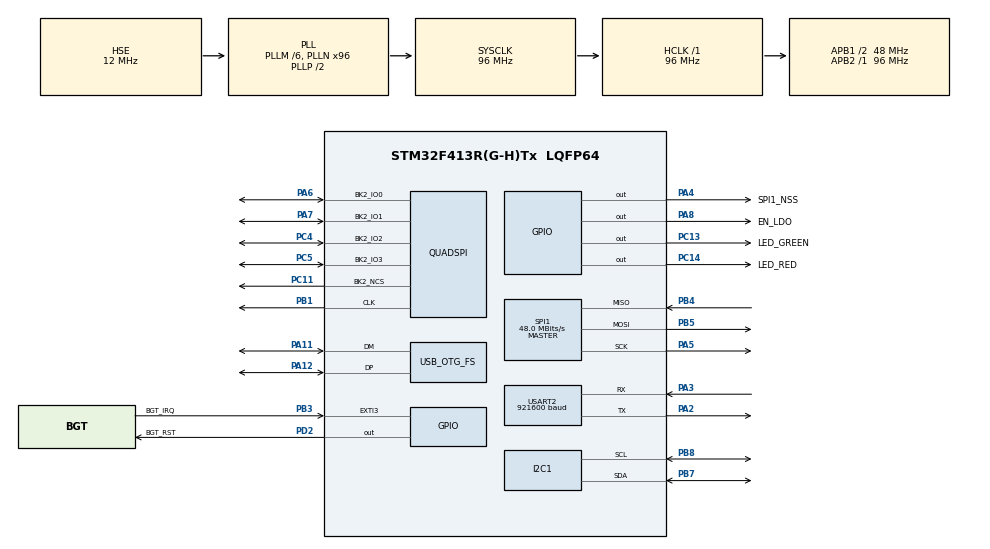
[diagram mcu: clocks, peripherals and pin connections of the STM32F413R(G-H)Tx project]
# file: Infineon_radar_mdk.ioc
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Dma.Request0=SPI1_RX
Dma.Request1=SPI1_TX
Dma.Request2=USART2_TX
Dma.SPI1_RX.0.Direction=DMA_PERIPH_TO_MEMORY
Dma.SPI1_RX.0.FIFOMode=DMA_FIFOMODE_DISABLE
Dma.SPI1_RX.0.Instance=DMA2_Stream0
Dma.SPI1_RX.0.MemDataAlignment=DMA_MDATAALIGN_BYTE
Dma.SPI1_RX.0.MemInc=DMA_MINC_ENABLE
Dma.SPI1_RX.0.Mode=DMA_NORMAL
Dma.SPI1_RX.0.PeriphDataAlignment=DMA_PDATAALIGN_BYTE
Dma.SPI1_RX.0.PeriphInc=DMA_PINC_DISABLE
Dma.SPI1_RX.0.Priority=DMA_PRIORITY_LOW
Dma.SPI1_TX.1.Direction=DMA_MEMORY_TO_PERIPH
Dma.SPI1_TX.1.FIFOMode=DMA_FIFOMODE_DISABLE
Dma.SPI1_TX.1.Instance=DMA2_Stream2
Dma.SPI1_TX.1.MemDataAlignment=DMA_MDATAALIGN_BYTE
Dma.SPI1_TX.1.MemInc=DMA_MINC_ENABLE
Dma.SPI1_TX.1.Mode=DMA_NORMAL
Dma.SPI1_TX.1.PeriphDataAlignment=DMA_PDATAALIGN_BYTE
Dma.SPI1_TX.1.PeriphInc=DMA_PINC_DISABLE
Dma.SPI1_TX.1.Priority=DMA_PRIORITY_LOW
Dma.USART2_TX.2.Direction=DMA_MEMORY_TO_PERIPH
Dma.USART2_TX.2.FIFOMode=DMA_FIFOMODE_DISABLE
Dma.USART2_TX.2.Instance=DMA1_Stream6
Dma.USART2_TX.2.MemDataAlignment=DMA_MDATAALIGN_BYTE
Dma.USART2_TX.2.MemInc=DMA_MINC_ENABLE
Dma.USART2_TX.2.Mode=DMA_NORMAL
Dma.USART2_TX.2.PeriphDataAlignment=DMA_PDATAALIGN_BYTE
Dma.USART2_TX.2.PeriphInc=DMA_PINC_DISABLE
Dma.USART2_TX.2.Priority=DMA_PRIORITY_LOW
Mcu.Family=STM32F4
Mcu.Name=STM32F413R(G-H)Tx
Mcu.Package=LQFP64
NVIC.DMA1_Stream6_IRQn=true\:0\:0\:false\:false\:true\:false\:true\:true
NVIC.DMA2_Stream0_IRQn=true\:0\:0\:false\:false\:true\:false\:true\:true
NVIC.DMA2_Stream2_IRQn=true\:0\:0\:false\:false\:true\:false\:true\:true
NVIC.EXTI3_IRQn=true\:0\:0\:false\:false\:true\:true\:true\:true
NVIC.OTG_FS_IRQn=true\:0\:0\:false\:false\:true\:false\:true\:true
NVIC.PriorityGroup=NVIC_PRIORITYGROUP_4
NVIC.SPI1_IRQn=true\:0\:0\:false\:false\:true\:true\:true\:true
NVIC.USART2_IRQn=true\:0\:0\:false\:false\:true\:true\:true\:true
PA11.Mode=Device_Only
PA11.Signal=USB_OTG_FS_DM
PA12.Mode=Device_Only
PA12.Signal=USB_OTG_FS_DP
PA13.Mode=Serial_Wire
PA13.Signal=SYS_JTMS-SWDIO
PA14.Mode=Serial_Wire
PA14.Signal=SYS_JTCK-SWCLK
PA2.Mode=Asynchronous
PA2.Signal=USART2_TX
PA3.Mode=Asynchronous
PA3.Signal=USART2_RX
PA4.GPIO_Label=SPI1_NSS
PA4.Signal=GPIO_Output
PA5.Mode=Full_Duplex_Master
PA5.Signal=SPI1_SCK
PA6.Mode=Single Bank 2
PA6.Signal=QUADSPI_BK2_IO0
PA7.Mode=Single Bank 2
PA7.Signal=QUADSPI_BK2_IO1
PA8.GPIO_Label=EN_LDO
PA8.PinState=GPIO_PIN_SET
PA8.Signal=GPIO_Output
PB1.Mode=Single Bank 2
PB1.Signal=QUADSPI_CLK
PB3.GPIO_Label=BGT_IRQ
PB3.GPIO_PuPd=GPIO_NOPULL
PB3.Signal=GPXTI3
PB4.Mode=Full_Duplex_Master
PB4.Signal=SPI1_MISO
PB5.Mode=Full_Duplex_Master
PB5.Signal=SPI1_MOSI
PB7.Mode=I2C
PB7.Signal=I2C1_SDA
PB8.Mode=I2C
PB8.Signal=I2C1_SCL
PC11.Mode=Single Bank 2
PC11.Signal=QUADSPI_BK2_NCS
PC13.GPIO_Label=LED_GREEN
PC13.PinState=GPIO_PIN_SET
PC13.Signal=GPIO_Output
PC14-OSC32_IN.GPIO_Label=LED_RED
PC14-OSC32_IN.PinState=GPIO_PIN_SET
PC14-OSC32_IN.Signal=GPIO_Output
PC4.Mode=Single Bank 2
PC4.Signal=QUADSPI_BK2_IO2
PC5.Mode=Single Bank 2
PC5.Signal=QUADSPI_BK2_IO3
PD2.GPIO_Label=BGT_RST
PD2.PinState=GPIO_PIN_SET
PD2.Signal=GPIO_Output
PH0\ -\ OSC_IN.Mode=HSE-External-Oscillator
PH0\ -\ OSC_IN.Signal=RCC_OSC_IN
PH1\ -\ OSC_OUT.Mode=HSE-External-Oscillator
PH1\ -\ OSC_OUT.Signal=RCC_OSC_OUT
ProjectManager.HeapSize=0x800
ProjectManager.StackSize=0x20000
ProjectManager.TargetToolchain=MDK-ARM V5.32
RCC.AHBFreq_Value=96000000
RCC.APB1CLKDivider=RCC_HCLK_DIV2
RCC.APB1Freq_Value=48000000
RCC.APB1TimFreq_Value=96000000
RCC.APB2Freq_Value=96000000
RCC.APB2TimFreq_Value=96000000
RCC.CortexFreq_Value=96000000
RCC.HCLKFreq_Value=96000000
RCC.HSE_VALUE=12000000
RCC.PLLM=6
RCC.PLLN=96
RCC.PLLQ=4
RCC.SYSCLKFreq_VALUE=96000000
RCC.SYSCLKSource=RCC_SYSCLKSOURCE_PLLCLK
RCC.USBFreq_Value=48000000
RCC.VCOOutputFreq_Value=192000000
SPI1.BaudRatePrescaler=SPI_BAUDRATEPRESCALER_2
SPI1.CalculateBaudRate=48.0 MBits/s
SPI1.Direction=SPI_DIRECTION_2LINES
SPI1.Mode=SPI_MODE_MASTER
SPI1.VirtualType=VM_MASTER
STMicroelectronics.X-CUBE-AI.9.0.0.ActivationBufferSizeList=4580
STMicroelectronics.X-CUBE-AI.9.0.0.ActivationBuffers=pool0
STMicroelectronics.X-CUBE-AI.9.0.0.ActivationNames=pool0
STMicroelectronics.X-CUBE-AI.9.0.0.ActivationSizes=AI_NETWORK_DATA_ACTIVATION_1_SIZE
STMicroelectronics.X-CUBE-AI.9.0.0.HeapSize=0x800
STMicroelectronics.X-CUBE-AI.9.0.0.InternalRamActivationBufferMaxSize=AI_NETWORK_DATA_ACTIVATIONS_SIZE
STMicroelectronics.X-CUBE-AI.9.0.0.LatestDirectoryUsed-34c711eefe45bda2cdd716b7621bb86216650b6f47934fd912d49022d4957a4e=C\:\\Users\\pchen\\Downloads
STMicroelectronics.X-CUBE-AI.9.0.0.MaximumNumberOfInputLayer=1
STMicroelectronics.X-CUBE-AI.9.0.0.MaximumNumberOfOutputLayer=1
STMicroelectronics.X-CUBE-AI.9.0.0.MaximumSizeOfInputLayer=1
STMicroelectronics.X-CUBE-AI.9.0.0.MaximumSizeOfOutputLayer=1
STMicroelectronics.X-CUBE-AI.9.0.0.ModelActualCompression-34c711eefe45bda2cdd716b7621bb86216650b6f47934fd912d49022d4957a4e=0.0
STMicroelectronics.X-CUBE-AI.9.0.0.ModelCompression-34c711eefe45bda2cdd716b7621bb86216650b6f47934fd912d49022d4957a4e=None
STMicroelectronics.X-CUBE-AI.9.0.0.ModelFlashOccupation-34c711eefe45bda2cdd716b7621bb86216650b6f47934fd912d49022d4957a4e=23352
STMicroelectronics.X-CUBE-AI.9.0.0.ModelHashList=34c711eefe45bda2cdd716b7621bb86216650b6f47934fd912d49022d4957a4e
STMicroelectronics.X-CUBE-AI.9.0.0.ModelKind-34c711eefe45bda2cdd716b7621bb86216650b6f47934fd912d49022d4957a4e=TFLITE
STMicroelectronics.X-CUBE-AI.9.0.0.ModelMacc-34c711eefe45bda2cdd716b7621bb86216650b6f47934fd912d49022d4957a4e=22806
STMicroelectronics.X-CUBE-AI.9.0.0.ModelName-34c711eefe45bda2cdd716b7621bb86216650b6f47934fd912d49022d4957a4e=network
STMicroelectronics.X-CUBE-AI.9.0.0.ModelNameList=network
STMicroelectronics.X-CUBE-AI.9.0.0.ModelRamOccupation-34c711eefe45bda2cdd716b7621bb86216650b6f47934fd912d49022d4957a4e=1680
STMicroelectronics.X-CUBE-AI.9.0.0.ModelStructureFile-34c711eefe45bda2cdd716b7621bb86216650b6f47934fd912d49022d4957a4e=C\:\\Users\\pchen\\Downloads\\model_quantized.tflite
STMicroelectronics.X-CUBE-AI.9.0.0.ModelType-34c711eefe45bda2cdd716b7621bb86216650b6f47934fd912d49022d4957a4e=STM32Cube.AI MCU runtime
STMicroelectronics.X-CUBE-AI.9.0.0.ReadyForCodeGeneration=true
STMicroelectronics.X-CUBE-AI.9.0.0.StackSize=0x20000
STMicroelectronics.X-CUBE-AI.9.0.0.WorkingBufferStartAddrList=0xFFFFFFFF
STMicroelectronics.X-CUBE-AI.9.0.0.XAaCUBEAaAICcArtificialOoIntelligenceJjCore=true
STMicroelectronics.X-CUBE-AI.9.0.0.copyWeightToRam=false
STMicroelectronics.X-CUBE-AI.9.0.0.customLayerConfigEnabled=false
STMicroelectronics.X-CUBE-AI.9.0.0.noOnnxIoTranspose=false
STMicroelectronics.X-CUBE-AI.9.0.0.useInputAllocation=true
STMicroelectronics.X-CUBE-AI.9.0.0.useOutputAllocation=true
USART2.BaudRate=921600
USART2.VirtualMode=VM_ASYNC
USB_DEVICE.CLASS_NAME_FS=CDC
USB_DEVICE.VirtualMode=Cdc
USB_DEVICE.VirtualModeFS=Cdc_FS
USB_OTG_FS.VirtualMode=Device_Only
VP_STMicroelectronics.X-CUBE-AI_VS_ArtificialOoIntelligenceJjXAaCUBEAaAI_9.0.0.Mode=ArtificialOoIntelligenceJjXAaCUBEAaAI
VP_USB_DEVICE_VS_USB_DEVICE_CDC_FS.Mode=CDC_FS
board=custom

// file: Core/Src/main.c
/* USER CODE BEGIN Header */
/**
******************************************************************************
* @file           : main.c
* @brief          : Main program body
******************************************************************************
* @attention
*
* Copyright (c) 2023 STMicroelectronics.
* All rights reserved.
*
* This software is licensed under terms that can be found in the LICENSE file
* in the root directory of this software component.
* If no LICENSE file comes with this software, it is provided AS-IS.
*
******************************************************************************
*/
/* USER CODE END Header */
#include "main.h"
#include "dma.h"
#include "i2c.h"
#include "quadspi.h"
#include "spi.h"
#include "usart.h"
#include "usb_device.h"
#include "gpio.h"

/* USER CODE BEGIN Includes */
#ifndef XENSIV_BGT60TRXX_CONF_IMPL
#define XENSIV_BGT60TRXX_CONF_IMPL
#endif
#include "xensiv_bgt60trxx.h"
#include "presence_radar_settings.h"
#include <inttypes.h>
#include <stdio.h>
#include "usbd_cdc_if.h"

//Ai include
#include "stdio.h"
#include "math.h"
#include "time.h"
#include "ai_platform.h"
#include "network.h"
#include "network_data.h"

//MATLAB include

#include <stddef.h>
#include <stdlib.h>
#include "rtwtypes.h"
#include "matlab_feature_extract.h"
#include "rt_nonfinite.h"
#include "start_judge.h"

/* USER CODE END Includes */

/* USER CODE BEGIN PD */
#define XENSIV_BGT60TRXX_SPI_FREQUENCY (25000000UL)
#define NUM_SAMPLES_PER_FRAME (XENSIV_BGT60TRXX_CONF_NUM_RX_ANTENNAS *      \
                              XENSIV_BGT60TRXX_CONF_NUM_CHIRPS_PER_FRAME * \
                              XENSIV_BGT60TRXX_CONF_NUM_SAMPLES_PER_CHIRP)
#define NUM_SAMPLES_PER_FRAME_ADC_RAW_DATA (NUM_SAMPLES_PER_FRAME * 3 / 2)
#define NUM_FRAMES_BUFFER 15
/* USER CODE END PD */

/* USER CODE BEGIN PV */
static xensiv_bgt60trxx_t sensor;
static volatile bool data_available = false;
static volatile bool dma_flag = true;
static volatile bool dma_flag_uart = true;

/* Allocate enough memory for the radar dara frame. */
//static uint16_t samples[NUM_SAMPLES_PER_FRAME];
static uint8_t adcRawData[NUM_SAMPLES_PER_FRAME_ADC_RAW_DATA];// 64x32x1.5x3 采数据buffer到底怎么为?
static uint8_t *framept = 0;

static uint16_t resultArray[NUM_SAMPLES_PER_FRAME];//64x32x3
static uint16_t *resultpt = 0;
static uint16_t *judgept = 0;
//uint8_t testArray[4];// used to test bit12 to bit16 function

bool tranformSpeed = false;
uint32_t frame_idx = 0;
uint32_t frame_stop = 0;

uint32_t last_irq_tick = 0;
uint32_t irq_tick = 0;
uint32_t spi_enable_tick = 0;
uint32_t usart_dma_start = 0;
uint32_t spi_dma_cost = 0;
uint32_t usart_dma_cost = 0;
//uint32_t wait_time = 0;

// AI parameter
ai_handle network;
//float aiInData[AI_NETWORK_IN_1_SIZE]={-9.298612677079564,-8.86344077881372,-11.08269874047248,-9.270826398365454,-10.672292530904508,-9.188027646976918,-10.27581200912054,-8.675486063269718,-7.447736380801032,-7.803294279997628,-7.895103838183733,-6.450533829811868,-6.481157021452547,-7.3656509196386715,-6.065664863862057,22.48991611087293,20.775957005925,27.07810255942578,31.758055492959848,41.979656567324525,52.22430684218063,55.060375875843675,37.483191287575906,43.63150679288669,30.709718200966023,31.58083633186333,33.88890309505801,19.30882870912667,11.115082341890556,26.28208050746487,10.593622416136668,8.269338193183755,12.760632545701025,12.45853620977311,14.065016506403426,6.65523659620928,4.005883969835484,9.88960227950114,24.914375290176007,12.434666493981167,13.296421579749007,16.639425496604815,-0.7599367212720368,-11.791494294596248,-13.347109220088301,12.0,10.0,12.0,12.0,13.0,12.0,14.0,11.0,16.0,14.0,13.0,16.0,15.0,13.0,18.0,9.71464301421261,9.51747764034695,8.622936173900973,8.304078469372175,8.32048840330877,7.903490795459883,7.347093191043699,7.884230117261198,8.10409225687522,7.069524413199044,6.377353668600602,6.913473996706376,6.165036807793203,6.670487207277613,5.357349487120304,0.0,-0.9944018467528082,-0.9952813269678167,-0.9905601462849846,-0.9898838144193726,-0.9726568482187672,-0.9144928039317419,-0.9130732943192493,-0.7335775773917104,-0.7135953449894658,-0.6812950820682971,-0.5914069008091457,-0.4857954383416314,-0.3017532443382474};
float aiOutData[AI_NETWORK_OUT_1_SIZE];
ai_u8 activations[AI_NETWORK_DATA_ACTIVATIONS_SIZE];

ai_buffer * ai_input;
ai_buffer * ai_output;

static void AI_Init(void);
static void AI_Run(float *pIn, float *pOut);

clock_t start, stop;
double duration_Init, duration_Run;
double StartTime = 0, EndTime = 0;

volatile uint32_t TIM_start = 0;
volatile uint32_t TIM_end = 0;
volatile uint32_t TIM = 0;

// Matlab parameter

uint16_t matlabInData[6144];
float matlabOutData[6] = {1,2,3,4,5,6};
float featuresMatrix[90];

//uint16_t meanBuffer[64*3*15];

/* USER CODE END PV */

void SystemClock_Config(void);
/* USER CODE BEGIN PFP */
void HAL_GPIO_EXTI_Callback(uint16_t GPIO_Pin);
void HAL_SPI_RxCpltCallback(SPI_HandleTypeDef *hspi);
void HAL_UART_TxCpltCallback(UART_HandleTypeDef *huart);
//void BIT12_TO_BIT16(uint8_t *A, int16_t *B, uint16_t Alen);
void BIT12_TO_BIT16(uint8_t *A, uint16_t *B, uint16_t Alen);

/* Matlab Function Declarations */

/* USER CODE END PFP */

int main(void)
{

  /* MCU Configuration--------------------------------------------------------*/

  /* Reset of all peripherals, Initializes the Flash interface and the Systick. */
  HAL_Init();

  /* Configure the system clock */
  SystemClock_Config();

  /* Initialize all configured peripherals */
  MX_GPIO_Init();
  MX_DMA_Init();
  MX_I2C1_Init();
  MX_QUADSPI_Init();
  MX_SPI1_Init();
  MX_USART2_UART_Init();
  MX_USB_DEVICE_Init();
  /* USER CODE BEGIN 2 */

  HAL_Delay(5000);

  TIM_start = HAL_GetTick();
  AI_Init();
  TIM_end = HAL_GetTick();
  TIM = TIM_end - TIM_start;
  HAL_Delay(1);
  usb_printf("Model Initiate time=%u\r\n", TIM);
  HAL_Delay(1);

  HAL_GPIO_WritePin(GPIOC, LED_GREEN_Pin | LED_RED_Pin, GPIO_PIN_SET);
  HAL_GPIO_WritePin(EN_LDO_GPIO_Port, EN_LDO_Pin, GPIO_PIN_SET);
  static xensiv_bgt60trxx_st_iface_t spiface;
  spiface.spi = &hspi1;
  spiface.selpin.GPIOx = SPI1_NSS_GPIO_Port;
  spiface.selpin.GPIO_Pin = SPI1_NSS_Pin;
  spiface.rstpin.GPIOx = BGT_RST_GPIO_Port;
  spiface.rstpin.GPIO_Pin = BGT_RST_Pin;

  uint32_t rslt;
  rslt = xensiv_bgt60trxx_init(&sensor, &spiface, tranformSpeed); // Radar Init
  xensiv_bgt60trxx_get_device(&sensor);

  uint32_t Nchipid;
  uint32_t NADC0;
  HAL_Delay(3000);
  xensiv_bgt60trxx_get_reg(&sensor, XENSIV_BGT60TRXX_REG_CHIP_ID, &Nchipid);//
  usb_printf("chipid:%08X\n", Nchipid);
  xensiv_bgt60trxx_get_reg(&sensor, XENSIV_BGT60TRXX_REG_ADC0, &NADC0);
  usb_printf("ADC0:%08X\n", NADC0);

  if (rslt == XENSIV_BGT60TRXX_STATUS_OK)
  {
  xensiv_bgt60trxx_hard_reset(&sensor);
  }
  if (rslt == XENSIV_BGT60TRXX_STATUS_OK)
  {
  rslt = xensiv_bgt60trxx_config(&sensor, register_list, XENSIV_BGT60TRXX_CONF_NUM_REGS); // config
  }
  if (rslt != XENSIV_BGT60TRXX_STATUS_OK)
  {
  goto Error_Assert;
  }
  if (xensiv_bgt60trxx_enable_data_test_mode(&sensor, false) != XENSIV_BGT60TRXX_STATUS_OK) // test mode
  {
  goto Error_Assert;
  }
  if (xensiv_bgt60trxx_set_fifo_limit(&sensor, NUM_SAMPLES_PER_FRAME_ADC_RAW_DATA * 1) != XENSIV_BGT60TRXX_STATUS_OK)
  {
  goto Error_Assert;
  }
  if (xensiv_bgt60trxx_start_frame(&sensor, true) != XENSIV_BGT60TRXX_STATUS_OK)
  {
  goto Error_Assert;
  }
  data_available = false;

  uint8_t headflag[] = {0x00, 0x01, 0x02, 0x03, 0x04, 0x05, 0x06, 0x07};

  uint8_t UserTxBuffer[] = "STM32 Virtual COM Port Driver \r\n";
  usb_printf("Hello world, %s\r\n", UserTxBuffer);

  /* USER CODE END 2 */

  /* Infinite loop */
 while (1)
 {

    /* USER CODE BEGIN 3 */
   //wait_time = HAL_GetTick();

   /* Wait for the radar device to indicate the availability of the data to fetch. */
   while (data_available == false)
     ;
   data_available = false;
#ifdef DMA_ENABLE
   while (dma_flag == false)
     ;
   dma_flag = false;
   HAL_UART_Transmit(&huart2, headflag, 8, 100);
#else
   // start = clock();

   // AI_Run(aiInData, aiOutData);

   // HAL_Delay(1000);
   // CDC_Transmit_FS(headflag, 8);
   // CDC_Transmit_FS(UserTxBuffer, sizeof(UserTxBuffer));
   // HAL_Delay(1000);
   // usb_printf("Hello world, %s\r\n", UserTxBuffer);
#endif
   //framept = &adcRawData[(frame_idx % NUM_FRAMES_BUFFER) * NUM_SAMPLES_PER_FRAME_ADC_RAW_DATA];
   framept = &adcRawData[0]; // read 9KB each time
   spi_enable_tick = HAL_GetTick();
   if (xensiv_bgt60trxx_get_fifo_data(&sensor, (uint8_t *)framept,
                                   NUM_SAMPLES_PER_FRAME_ADC_RAW_DATA) == XENSIV_BGT60TRXX_STATUS_OK)// read data
   {
     usb_printf("\r\nFrame %d data collection complete\r\n", frame_idx);
     //resultpt = &resultArray[(frame_idx % 15) * NUM_SAMPLES_PER_FRAME];
     resultpt = &resultArray[0];// output 12KB each time
     BIT12_TO_BIT16(framept, resultpt, NUM_SAMPLES_PER_FRAME_ADC_RAW_DATA);
     HAL_Delay(1);
     usb_printf("Frame %d data convert complete\n", frame_idx);

    // Check bit12 to bit16 is right
    // testArray[0] = (resultArray[(frame_idx % NUM_FRAMES_BUFFER) * NUM_SAMPLES_PER_FRAME] >> 8) & 0xff;
    // testArray[1] = resultArray[(frame_idx % NUM_FRAMES_BUFFER) * NUM_SAMPLES_PER_FRAME] & 0xff;
    // testArray[2] = (resultArray[(frame_idx % NUM_FRAMES_BUFFER) * NUM_SAMPLES_PER_FRAME+1] >> 8) & 0xff;
    // testArray[3] = resultArray[(frame_idx % NUM_FRAMES_BUFFER) * NUM_SAMPLES_PER_FRAME+1] & 0xff;
    // CDC_Transmit_FS(headflag, 8);
    // HAL_Delay(1);
    // CDC_Transmit_FS(testArray, 4); //传输雷达数据
    // HAL_Delay(1);
    // CDC_Transmit_FS(framept, 3); //传输雷达数据

     //input 64x32x3 = 6144, output 6; Repeat 15 times!
     judgept = &resultArray[4096];
     // using frame_stop here to read 15 frames when judge true
    if (frame_stop >= frame_idx + 1 && frame_stop != 0)
    {

     TIM_start = HAL_GetTick();
     matlab_feature_extract(resultArray, 15 - (frame_stop - frame_idx), matlabOutData);
     TIM_end = HAL_GetTick();
     TIM = TIM_end - TIM_start;
     HAL_Delay(1);
     usb_printf("\r\nMatlab Processing time= %u ms\n", TIM);
     HAL_Delay(1);

     usb_printf("current frame is %d\n", frame_idx);
     HAL_Delay(1);
     usb_printf("%f, %f, %f, %f, %f, %f\r\n",matlabOutData[0],matlabOutData[1],matlabOutData[2],matlabOutData[3],matlabOutData[4],matlabOutData[5]);
     HAL_Delay(1);

		 // Wait for 15 frames
     if (15 - (frame_stop - frame_idx) < 14)
     {
       featuresMatrix[((15 - (frame_stop - frame_idx)) % NUM_FRAMES_BUFFER)] = matlabOutData[0];
       featuresMatrix[((15 - (frame_stop - frame_idx)) % NUM_FRAMES_BUFFER) + NUM_FRAMES_BUFFER] = matlabOutData[1];
       featuresMatrix[((15 - (frame_stop - frame_idx)) % NUM_FRAMES_BUFFER) + NUM_FRAMES_BUFFER*2] = matlabOutData[2];
       featuresMatrix[((15 - (frame_stop - frame_idx)) % NUM_FRAMES_BUFFER) + NUM_FRAMES_BUFFER*3] = matlabOutData[3];
       featuresMatrix[((15 - (frame_stop - frame_idx)) % NUM_FRAMES_BUFFER) + NUM_FRAMES_BUFFER*4] = matlabOutData[4];
       featuresMatrix[((15 - (frame_stop - frame_idx)) % NUM_FRAMES_BUFFER) + NUM_FRAMES_BUFFER*5] = matlabOutData[5];
     }

    //  if (frame_idx >= 14)
    //  {
     //   // featuresmatrix is fulfilled, do AI processing
			 if ((15 - (frame_stop - frame_idx)) == 14){
					 AI_Run(featuresMatrix, aiOutData);
				 }
      //  else
      //  {
      //    //float featuresMatrix_new[90];

      //    for (int i = 0; i < 14; i++)// delete the first frame, fifo
      //    {
      //      featuresMatrix[i] = featuresMatrix[i + 1];
      //      featuresMatrix[NUM_FRAMES_BUFFER + i] = featuresMatrix[NUM_FRAMES_BUFFER + i + 1];
      //      featuresMatrix[NUM_FRAMES_BUFFER*2 + i] = featuresMatrix[NUM_FRAMES_BUFFER*2 + i + 1];
      //      featuresMatrix[NUM_FRAMES_BUFFER*3 + i] = featuresMatrix[NUM_FRAMES_BUFFER*3 + i + 1];
      //      featuresMatrix[NUM_FRAMES_BUFFER*4 + i] = featuresMatrix[NUM_FRAMES_BUFFER*4 + i + 1];
      //      featuresMatrix[NUM_FRAMES_BUFFER*5 + i] = featuresMatrix[NUM_FRAMES_BUFFER*5 + i + 1];

      //    }
      //    // add the new frame
      //    featuresMatrix[14] = matlabOutData[0];
      //    featuresMatrix[14 + NUM_FRAMES_BUFFER] = matlabOutData[1];
      //    featuresMatrix[14 + NUM_FRAMES_BUFFER*2] = matlabOutData[2];
      //    featuresMatrix[14 + NUM_FRAMES_BUFFER*3] = matlabOutData[3];
      //    featuresMatrix[14 + NUM_FRAMES_BUFFER*4] = matlabOutData[4];
      //    featuresMatrix[14 + NUM_FRAMES_BUFFER*5] = matlabOutData[5];

      //    AI_Run(featuresMatrix, aiOutData);
      //  }

     //}

    }
    else {
      if (start_judge(judgept)){
        frame_stop = frame_idx + 16;
      }
    }

     //time measure start
     //bit12 to bit16() -> DONE!
     //matlab feature extract, output 6
     // for
     // repeat 15 times, output 6 * 15 = 90 -> DONE!
     //
     //Ai_Run() -> DONE!
     //time measure stop

     //fifo next frame, feature -> DONE!
     //Ai_Run()

#ifdef DMA_ENABLE
     printf("wait radar time:%ld ms ", HAL_GetTick() - wait_time);
     printf("spi transfer interval:%ld ms ", spi_dma_cost);
     printf("usart transfer interval:%ld ms ", usart_dma_cost);
     printf("frame repetion time: %d ms  ", (int)(XENSIV_BGT60TRXX_CONF_FRAME_REPETION_TIME_S * 1000 + 0.5));
     printf("radar irq interval:%ld ms\n", irq_tick);
#else

     // CDC_Transmit_FS(resultpt, NUM_SAMPLES_PER_FRAME); //传输雷达数据
     // HAL_Delay(5000);
     // if (resultpt == &resultArray[0])
     // {
     //   CDC_Transmit_FS(&resultArray[(NUM_FRAMES_BUFFER - 1) * NUM_SAMPLES_PER_FRAME], NUM_SAMPLES_PER_FRAME);
     // }
     // else
     // {
     //   CDC_Transmit_FS((uint16_t *)(resultpt - NUM_SAMPLES_PER_FRAME), NUM_SAMPLES_PER_FRAME);
     // }

     // CDC_Transmit_FS(framept, NUM_SAMPLES_PER_FRAME_ADC_RAW_DATA); //传输雷达数据
     // if (framept == &adcRawData[0])
     // {
     //   CDC_Transmit_FS(&adcRawData[(NUM_FRAMES_BUFFER - 1) * NUM_SAMPLES_PER_FRAME_ADC_RAW_DATA], NUM_SAMPLES_PER_FRAME_ADC_RAW_DATA);
     // }
     // else
     // {
     //   CDC_Transmit_FS((uint8_t *)(framept - NUM_SAMPLES_PER_FRAME_ADC_RAW_DATA), NUM_SAMPLES_PER_FRAME_ADC_RAW_DATA);
     // }
#endif
   }
   else
   {
     usb_printf("Error: xensiv_bgt60trxx_get_fifo_data\n");
     goto Error_Assert;
   }
   frame_idx++;
 }
Error_Assert:
 while (true)
 {
   HAL_GPIO_TogglePin(LED_GREEN_GPIO_Port, LED_GREEN_Pin);
   HAL_GPIO_TogglePin(LED_RED_GPIO_Port, LED_RED_Pin);
   usb_printf("Error_Assert\n");
   HAL_Delay(100);
 };
  /* USER CODE END 3 */
}

void SystemClock_Config(void)
{
  RCC_OscInitTypeDef RCC_OscInitStruct = {0};
  RCC_ClkInitTypeDef RCC_ClkInitStruct = {0};

  /** Configure the main internal regulator output voltage
  */
  __HAL_RCC_PWR_CLK_ENABLE();
  __HAL_PWR_VOLTAGESCALING_CONFIG(PWR_REGULATOR_VOLTAGE_SCALE1);

  /** Initializes the RCC Oscillators according to the specified parameters
  * in the RCC_OscInitTypeDef structure.
  */
  RCC_OscInitStruct.OscillatorType = RCC_OSCILLATORTYPE_HSE;
  RCC_OscInitStruct.HSEState = RCC_HSE_ON;
  RCC_OscInitStruct.PLL.PLLState = RCC_PLL_ON;
  RCC_OscInitStruct.PLL.PLLSource = RCC_PLLSOURCE_HSE;
  RCC_OscInitStruct.PLL.PLLM = 6;
  RCC_OscInitStruct.PLL.PLLN = 96;
  RCC_OscInitStruct.PLL.PLLP = RCC_PLLP_DIV2;
  RCC_OscInitStruct.PLL.PLLQ = 4;
  RCC_OscInitStruct.PLL.PLLR = 2;
  if (HAL_RCC_OscConfig(&RCC_OscInitStruct) != HAL_OK)
  {
    Error_Handler();
  }

  /** Initializes the CPU, AHB and APB buses clocks
  */
  RCC_ClkInitStruct.ClockType = RCC_CLOCKTYPE_HCLK|RCC_CLOCKTYPE_SYSCLK
                              |RCC_CLOCKTYPE_PCLK1|RCC_CLOCKTYPE_PCLK2;
  RCC_ClkInitStruct.SYSCLKSource = RCC_SYSCLKSOURCE_PLLCLK;
  RCC_ClkInitStruct.AHBCLKDivider = RCC_SYSCLK_DIV1;
  RCC_ClkInitStruct.APB1CLKDivider = RCC_HCLK_DIV2;
  RCC_ClkInitStruct.APB2CLKDivider = RCC_HCLK_DIV1;

  if (HAL_RCC_ClockConfig(&RCC_ClkInitStruct, FLASH_LATENCY_3) != HAL_OK)
  {
    Error_Handler();
  }
}

/* USER CODE BEGIN 4 */
void HAL_GPIO_EXTI_Callback(uint16_t GPIO_Pin)
{
 data_available = true;
 irq_tick = HAL_GetTick() - last_irq_tick;
 last_irq_tick = HAL_GetTick();
}

void HAL_SPI_RxCpltCallback(SPI_HandleTypeDef *hspi)
{
 if (HAL_UART_GetState(&huart2) == HAL_UART_STATE_READY)
 {
#ifdef DMA_ENABLE
   if (framept == &adcRawData[0])
   {
     HAL_UART_Transmit_DMA(&huart2, &adcRawData[(NUM_FRAMES_BUFFER - 1) * NUM_SAMPLES_PER_FRAME_ADC_RAW_DATA], NUM_SAMPLES_PER_FRAME_ADC_RAW_DATA);
   }
   else
   {
     HAL_UART_Transmit_DMA(&huart2, (uint8_t *)(framept - NUM_SAMPLES_PER_FRAME_ADC_RAW_DATA), NUM_SAMPLES_PER_FRAME_ADC_RAW_DATA);
   }
   dma_flag = true;
   HAL_GPIO_WritePin(SPI1_NSS_GPIO_Port, SPI1_NSS_Pin, SET);
   usart_dma_start = HAL_GetTick();
#endif
   if (frame_idx % 15 == 0)
   {
     HAL_GPIO_TogglePin(LED_RED_GPIO_Port, LED_RED_Pin);
   }
 }
}

void HAL_UART_TxCpltCallback(UART_HandleTypeDef *huart)
{
#ifdef DMA_ENABLE
 dma_flag_uart = true;
#endif
 if (frame_idx % 15 == 0)
 {
   HAL_GPIO_TogglePin(LED_GREEN_GPIO_Port, LED_GREEN_Pin);
 }
}

/*void BIT12_TO_BIT16(uint8_t *A, int16_t *B, uint16_t Alen)
{
 uint32_t tmp = 0;
 int16_t *samplesPt = B;
 int16_t i_left_12, i_right_12;
 uint16_t u_left_12, u_right_12;
 for (size_t i = 0; i < Alen; i = i + 3)
 {
   tmp = ((A[i] << 16) | (A[i + 1] << 8) | A[i + 2]);

   u_left_12 = (tmp >> 12) & 0xfff;
   u_right_12 = tmp & 0xfff;

   if (u_left_12 >= 2096) // 0x800
   {
     i_left_12 = u_left_12 | 0xf000;
   }
   else
   {
     i_left_12 = u_left_12;
   }

   if (u_right_12 >= 2096) // 0x800
   {
     i_right_12 = u_right_12 | 0xf000;
   }
   else
   {
     i_right_12 = u_right_12;
   }

   *samplesPt = i_left_12;
   samplesPt++;
   *samplesPt = i_right_12;
   samplesPt++;
 }
}
*/
void BIT12_TO_BIT16(uint8_t *A, uint16_t *B, uint16_t Alen)
{
	uint32_t tmp = 0;
	uint16_t *samplesPt = B;
	for (size_t i = 0; i < Alen; i = i + 3)
	{
		tmp = ((A[i] << 16) | (A[i + 1] << 8) | A[i + 2]);
		*samplesPt = ((tmp >> 12) & 0x0fff);
		samplesPt++;
		*samplesPt = tmp & 0x0fff;
		samplesPt++;
	}
}

/**
 * @brief AI Model Initialization Function
 * @param None
 * @retval None
 */
static void AI_Init(void)
{
 ai_error err;

 /* Create a local array with the addresses of the activations buffers */
 const ai_handle act_addr[] = { activations };
 /* Create an instance of the model */
 err = ai_network_create_and_init(&network, act_addr, NULL);
 if (err.type != AI_ERROR_NONE) {
   usb_printf("ai_network_create error - type=%d code=%d\r\n", err.type, err.code);
   Error_Handler();
 }
	else{
		usb_printf("Model Init Successfully\r\n");
	}
 ai_input = ai_network_inputs_get(network, NULL);
 ai_output = ai_network_outputs_get(network, NULL);
}

/**
 * @brief AI Model Run Function
 * @param pIn, pOut
 * @retval None
 */
static void AI_Run(float *pIn, float *pOut)
{
	char logStr[100];
	int count = 0;
	float max = 0;
 ai_i32 batch;
 ai_error err;

 /* Update IO handlers with the data payload */
 ai_input[0].data = AI_HANDLE_PTR(pIn);
 ai_output[0].data = AI_HANDLE_PTR(pOut);

 TIM_start = HAL_GetTick();
 // AI Model Processing
 batch = ai_network_run(network, ai_input, ai_output);
 TIM_end = HAL_GetTick();
 TIM = TIM_end - TIM_start;

 if (batch != 1) {
   err = ai_network_get_error(network);
   usb_printf("AI ai_network_run error - type=%d code=%d\r\n", err.type, err.code);
   Error_Handler();
 }
	else{
		usb_printf("Model Processing Successfully\nModel Processing time=%ums\r\n", TIM);
	}
 // Softmax: Calculate output weights to probabilities
	float softmax = exp(aiOutData[0])+exp(aiOutData[1])+exp(aiOutData[2])+exp(aiOutData[3])+exp(aiOutData[4])+exp(aiOutData[5]);
	//printf("%8.6f %8.6f\r\n",aiInData[0], aiOutData[0]);

 // Print probability for each kind & given model predict result
 for (uint32_t i = 0; i < AI_NETWORK_OUT_1_SIZE; i++) {

     sprintf(logStr,"gesture %d  %8.6f\r\n",i,exp(aiOutData[i])/softmax);
     usb_printf("%s\r\n",logStr);
     HAL_Delay(1);
     if(max<aiOutData[i])
     {
       count = i;
       max= aiOutData[i];
     }
 }
 switch (count)
 {
 case 0:
   sprintf(logStr,"当前手势为 前\r\n");
   usb_printf("%s\r\n",logStr);
   break;
 case 1:
   sprintf(logStr,"当前手势为 后\r\n");
   usb_printf("%s\r\n",logStr);
   break;
 case 2:
   sprintf(logStr,"当前手势为 左\r\n");
   usb_printf("%s\r\n",logStr);
   break;
 case 3:
   sprintf(logStr,"当前手势为 右\r\n");
   usb_printf("%s\r\n",logStr);
   break;
 case 4:
   sprintf(logStr,"当前手势为 上\r\n");
   usb_printf("%s\r\n",logStr);
   break;
 case 5:
   sprintf(logStr,"当前手势为 下\r\n");
   usb_printf("%s\r\n",logStr);
   break;
 }
 // sprintf(logStr,"current number is gesture %d\r\n",count);
 // usb_printf("%s\r\n",logStr);

}

/* USER CODE END 4 */

void Error_Handler(void)
{
 __disable_irq();
 while (1)
 {
 }
}
